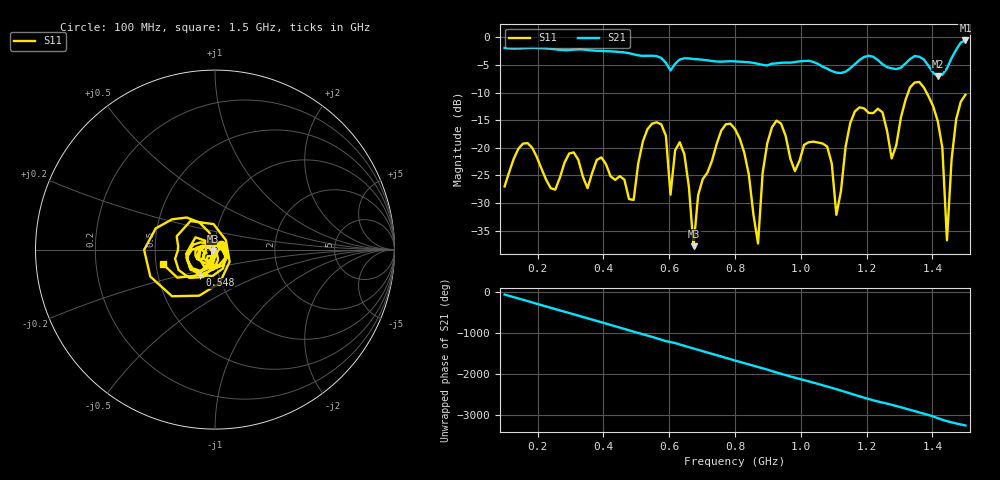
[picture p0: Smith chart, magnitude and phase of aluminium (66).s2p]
! NanoVNA-App
! Date: 2025-09-26 09:58:34
! Start: 100MHz Stop: 1,5GHz Points: 101
! S-Parameter data: F S11 S21 S12 S22
# Hz S RI R 50
!  Frequency  S11_Real  S11_Imag  S21_Real  S21_Imag  S12_Real  S12_Imag  S22_Real  S22_Imag
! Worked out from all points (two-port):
!   101 points, 100 MHz to 1.5 GHz, reference 50 ohm
!   highest |S21| = -0.55 dB at 1.5 GHz (marker M1); lowest = -7.1 dB at 1.416 GHz (marker M2)
!   |S21| within 3 dB of the highest: start of sweep to 568.9 MHz; 1.192 GHz to 1.221 GHz (28.99 MHz wide, 2.4 % of centre)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
!   lowest |S11| = -37.8 dB at 674 MHz (marker M3), VSWR 1.03, Z = 49 - j0.732 ohm
!   |S11| at or under -10 dB: start of sweep to 1.326 GHz; 1.382 GHz to end of sweep
!   S12 and S22 are empty: the file has one direction only
!   S11 on the Smith chart (normalised r, x): 100 MHz: 1.07, +0.06; 548 MHz: 0.81, -0.24; 1.5 GHz: 0.54, -0.09
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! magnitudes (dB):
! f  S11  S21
! 100 MHz  -27.0  -1.9
! 156 MHz  -19.2  -2.0
! 338 MHz  -25.3  -2.2
! 492 MHz  -29.4  -3.1
! 548 MHz  -15.6  -3.3
! 576 MHz  -15.7  -3.7
! 604 MHz  -28.5  -6.0
! 646 MHz  -21.1  -3.8
! 674 MHz  -37.8  -3.9
! 702 MHz  -25.7  -4.1
! 800 MHz  -16.6  -4.3
! 870 MHz  -37.3  -4.8
! 912 MHz  -16.3  -4.8
! 1.038 GHz  -18.9  -4.4
! 1.108 GHz  -32.1  -6.4
! 1.164 GHz  -13.4  -4.9
! 1.276 GHz  -21.9  -5.6
! 1.346 GHz  -8.2  -3.4
! 1.416 GHz  -15.1  -7.1
! 1.444 GHz  -36.8  -5.6
! 1.472 GHz  -14.8  -2.2
! 1.5 GHz  -10.4  -0.5
